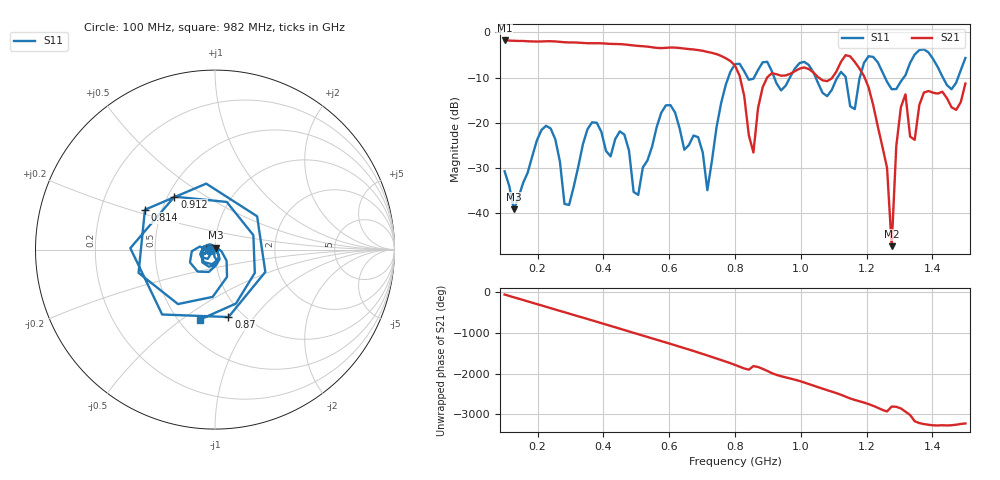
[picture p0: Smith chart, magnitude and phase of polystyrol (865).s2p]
! NanoVNA-App
! Date: 2025-09-25 15:36:37
! Start: 100MHz Stop: 1,5GHz Points: 101
! S-Parameter data: F S11 S21 S12 S22
# Hz S RI R 50
!  Frequency  S11_Real  S11_Imag  S21_Real  S21_Imag  S12_Real  S12_Imag  S22_Real  S22_Imag
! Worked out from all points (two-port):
!   101 points, 100 MHz to 1.5 GHz, reference 50 ohm
!   highest |S21| = -1.80 dB at 100 MHz (marker M1); lowest = -47.3 dB at 1.276 GHz (marker M2)
!   |S21| within 3 dB of the highest: start of sweep to 743 MHz
!   lowest |S11| = -39.1 dB at 128 MHz (marker M3), VSWR 1.02, Z = 50.3 + j1.06 ohm
!   |S11| at or under -10 dB: start of sweep to 779.7 MHz; 1.045 GHz to 1.111 GHz (66.08 MHz wide, 6.13 % of centre); 1.256 GHz to 1.313 GHz (56.75 MHz wide, 4.42 % of centre) (the widest 3 of 7)
!   S12 and S22 are empty: the file has one direction only
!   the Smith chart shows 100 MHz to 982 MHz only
!   S11 on the Smith chart (normalised r, x): 100 MHz: 0.94, -0.01; 814 MHz: 0.40, +0.22; 870 MHz: 0.86, -0.75; 912 MHz: 0.54, +0.37; 982 MHz: 0.63, -0.59
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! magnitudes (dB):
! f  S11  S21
! 100 MHz  -30.7  -1.8
! 128 MHz  -39.1  -1.9
! 212 MHz  -21.6  -2.0
! 282 MHz  -37.9  -2.2
! 338 MHz  -24.7  -2.3
! 464 MHz  -22.6  -2.7
! 506 MHz  -35.9  -3.0
! 576 MHz  -17.8  -3.5
! 716 MHz  -34.9  -4.3
! 800 MHz  -7.0  -7.4
! 814 MHz  -7.0  -9.6
! 856 MHz  -10.3  -26.6
! 870 MHz  -8.3  -16.8
! 912 MHz  -8.6  -9.0
! 982 MHz  -8.0  -8.6
! 1.038 GHz  -8.8  -8.9
! 1.192 GHz  -6.7  -9.7
! 1.262 GHz  -11.0  -30.0
! 1.276 GHz  -12.6  -47.3
! 1.29 GHz  -12.5  -25.2
! 1.318 GHz  -9.5  -13.7
! 1.5 GHz  -5.7  -11.3
